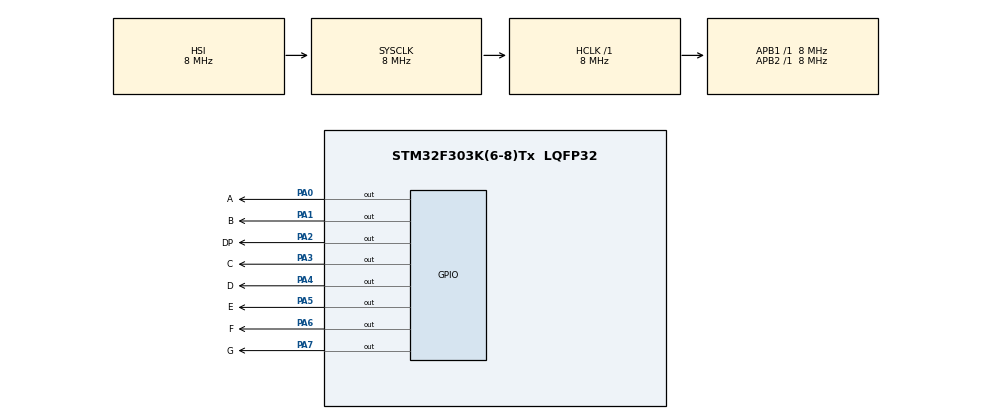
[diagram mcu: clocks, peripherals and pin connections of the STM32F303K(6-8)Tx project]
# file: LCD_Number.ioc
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Mcu.Family=STM32F3
Mcu.Name=STM32F303K(6-8)Tx
Mcu.Package=LQFP32
NVIC.PriorityGroup=NVIC_PRIORITYGROUP_4
PA0.GPIO_Label=A
PA0.Signal=GPIO_Output
PA1.GPIO_Label=B
PA1.Signal=GPIO_Output
PA2.GPIO_Label=DP
PA2.Signal=GPIO_Output
PA3.GPIO_Label=C
PA3.Signal=GPIO_Output
PA4.GPIO_Label=D
PA4.Signal=GPIO_Output
PA5.GPIO_Label=E
PA5.Signal=GPIO_Output
PA6.GPIO_Label=F
PA6.Signal=GPIO_Output
PA7.GPIO_Label=G
PA7.Signal=GPIO_Output
PF0\ /\ OSC_IN.Mode=HSE-External-Oscillator
PF0\ /\ OSC_IN.Signal=RCC_OSC_IN
PF1\ /\ OSC_OUT.Mode=HSE-External-Oscillator
PF1\ /\ OSC_OUT.Signal=RCC_OSC_OUT
ProjectManager.HeapSize=0x200
ProjectManager.StackSize=0x400
ProjectManager.TargetToolchain=STM32CubeIDE
RCC.AHBFreq_Value=8000000
RCC.APB1Freq_Value=8000000
RCC.APB2Freq_Value=8000000
RCC.CortexFreq_Value=8000000
RCC.HSE_VALUE=8000000
RCC.HSI_VALUE=8000000
RCC.SYSCLKFreq_VALUE=8000000
board=custom

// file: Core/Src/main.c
/* USER CODE BEGIN Header */
/**
  ******************************************************************************
  * @file           : main.c
  * @brief          : Main program body
  ******************************************************************************
  * @attention
  *
  * <h2><center>&copy; Copyright (c) 2021 STMicroelectronics.
  * All rights reserved.</center></h2>
  *
  * This software component is licensed by ST under BSD 3-Clause license,
  * the "License"; You may not use this file except in compliance with the
  * License. You may obtain a copy of the License at:
  *                        opensource.org/licenses/BSD-3-Clause
  *
  ******************************************************************************
  */
/* USER CODE END Header */
#include "main.h"

void SystemClock_Config(void);
static void MX_GPIO_Init(void);

/* USER CODE BEGIN 0 */

void putOctChar(uint8_t hexPut){
	toggChar(hexPut);
	  HAL_Delay(1000);
	  toggChar(hexPut);
}
void toggChar(uint8_t hexPut){
	if(hexPut ==  '0') {
				 HAL_GPIO_TogglePin(A_GPIO_Port, A_Pin);
				 HAL_GPIO_TogglePin(B_GPIO_Port, B_Pin);
				 HAL_GPIO_TogglePin(C_GPIO_Port, C_Pin);
				 HAL_GPIO_TogglePin(F_GPIO_Port, F_Pin);
				 HAL_GPIO_TogglePin(E_GPIO_Port, E_Pin);
				 HAL_GPIO_TogglePin(D_GPIO_Port, D_Pin);
				}
	else if(hexPut ==  '1')  {
		 HAL_GPIO_TogglePin(B_GPIO_Port, B_Pin);
		 HAL_GPIO_TogglePin(C_GPIO_Port, C_Pin);
		}
	else if(hexPut ==  '2') {
		 HAL_GPIO_TogglePin(A_GPIO_Port, A_Pin);
		 HAL_GPIO_TogglePin(B_GPIO_Port, B_Pin);
		 HAL_GPIO_TogglePin(G_GPIO_Port, G_Pin);
		 HAL_GPIO_TogglePin(E_GPIO_Port, E_Pin);
		 HAL_GPIO_TogglePin(D_GPIO_Port, D_Pin);
		}
	else if(hexPut ==  '3') {
			 HAL_GPIO_TogglePin(A_GPIO_Port, A_Pin);
			 HAL_GPIO_TogglePin(B_GPIO_Port, B_Pin);
			 HAL_GPIO_TogglePin(G_GPIO_Port, G_Pin);
			 HAL_GPIO_TogglePin(C_GPIO_Port, C_Pin);
			 HAL_GPIO_TogglePin(D_GPIO_Port, D_Pin);
			}
	else if(hexPut ==  '4') {
			 HAL_GPIO_TogglePin(F_GPIO_Port, F_Pin);
			 HAL_GPIO_TogglePin(B_GPIO_Port, B_Pin);
			 HAL_GPIO_TogglePin(G_GPIO_Port, G_Pin);
			 HAL_GPIO_TogglePin(C_GPIO_Port, C_Pin);
			}
	else if(hexPut ==  '5') {
			 HAL_GPIO_TogglePin(A_GPIO_Port, A_Pin);
			 HAL_GPIO_TogglePin(F_GPIO_Port, F_Pin);
			 HAL_GPIO_TogglePin(G_GPIO_Port, G_Pin);
			 HAL_GPIO_TogglePin(C_GPIO_Port, C_Pin);
			 HAL_GPIO_TogglePin(D_GPIO_Port, D_Pin);
			}
	else if(hexPut ==  '6') {
				 HAL_GPIO_TogglePin(A_GPIO_Port, A_Pin);
				 HAL_GPIO_TogglePin(F_GPIO_Port, F_Pin);
				 HAL_GPIO_TogglePin(G_GPIO_Port, G_Pin);
				 HAL_GPIO_TogglePin(C_GPIO_Port, C_Pin);
				 HAL_GPIO_TogglePin(E_GPIO_Port, E_Pin);
				 HAL_GPIO_TogglePin(D_GPIO_Port, D_Pin);
				}
	else if(hexPut ==  '7') {
				 HAL_GPIO_TogglePin(A_GPIO_Port, A_Pin);
				 HAL_GPIO_TogglePin(B_GPIO_Port, B_Pin);
				 HAL_GPIO_TogglePin(C_GPIO_Port, C_Pin);
				}
	else if(hexPut ==  '8') {
				 HAL_GPIO_TogglePin(A_GPIO_Port, A_Pin);
				 HAL_GPIO_TogglePin(B_GPIO_Port, B_Pin);
				 HAL_GPIO_TogglePin(G_GPIO_Port, G_Pin);
				 HAL_GPIO_TogglePin(C_GPIO_Port, C_Pin);
				 HAL_GPIO_TogglePin(F_GPIO_Port, F_Pin);
				 HAL_GPIO_TogglePin(E_GPIO_Port, E_Pin);
				 HAL_GPIO_TogglePin(D_GPIO_Port, D_Pin);
				}
	else if(hexPut ==  '9') {
				 HAL_GPIO_TogglePin(A_GPIO_Port, A_Pin);
				 HAL_GPIO_TogglePin(B_GPIO_Port, B_Pin);
				 HAL_GPIO_TogglePin(G_GPIO_Port, G_Pin);
				 HAL_GPIO_TogglePin(C_GPIO_Port, C_Pin);
				 HAL_GPIO_TogglePin(F_GPIO_Port, F_Pin);
				 HAL_GPIO_TogglePin(D_GPIO_Port, D_Pin);
				}
	else{
		HAL_GPIO_TogglePin(DP_GPIO_Port, DP_Pin);
	}
	  //HAL_Delay(1000);
	  //HAL_GPIO_TogglePin(DP_GPIO_Port, DP_Pin);

}
/* USER CODE END 0 */

int main(void)
{

  /* MCU Configuration--------------------------------------------------------*/

  /* Reset of all peripherals, Initializes the Flash interface and the Systick. */
  HAL_Init();

  /* Configure the system clock */
  SystemClock_Config();

  /* Initialize all configured peripherals */
  MX_GPIO_Init();

  /* Infinite loop */
  while (1)
  {
	  /*
		 HAL_GPIO_TogglePin(A_GPIO_Port, A_Pin);
		  HAL_Delay(1000);

		 HAL_GPIO_TogglePin(B_GPIO_Port, B_Pin);
		  HAL_Delay(1000);

		 HAL_GPIO_TogglePin(C_GPIO_Port, C_Pin);
		  HAL_Delay(1000);

		 HAL_GPIO_TogglePin(D_GPIO_Port, D_Pin);
		  HAL_Delay(1000);

		 HAL_GPIO_TogglePin(E_GPIO_Port, E_Pin);
		  HAL_Delay(1000);

		 HAL_GPIO_TogglePin(F_GPIO_Port, F_Pin);
		  HAL_Delay(1000);
		 HAL_GPIO_TogglePin(G_GPIO_Port, G_Pin);
		 HAL_Delay(1000);
	     HAL_GPIO_TogglePin(DP_GPIO_Port, DP_Pin);
	     HAL_Delay(1000);

	   */
	  putOctChar('1');
	  putOctChar('2');
	  putOctChar('3');
	  putOctChar('4');
	  putOctChar('5');
	  putOctChar('6');
	  putOctChar('7');
	  putOctChar('8');
	  putOctChar('9');
	  putOctChar('0');
	  putOctChar('DP');
  }
}

void SystemClock_Config(void)
{
  RCC_OscInitTypeDef RCC_OscInitStruct = {0};
  RCC_ClkInitTypeDef RCC_ClkInitStruct = {0};

  /** Initializes the RCC Oscillators according to the specified parameters
  * in the RCC_OscInitTypeDef structure.
  */
  RCC_OscInitStruct.OscillatorType = RCC_OSCILLATORTYPE_HSI;
  RCC_OscInitStruct.HSIState = RCC_HSI_ON;
  RCC_OscInitStruct.HSICalibrationValue = RCC_HSICALIBRATION_DEFAULT;
  RCC_OscInitStruct.PLL.PLLState = RCC_PLL_NONE;
  if (HAL_RCC_OscConfig(&RCC_OscInitStruct) != HAL_OK)
  {
    Error_Handler();
  }
  /** Initializes the CPU, AHB and APB buses clocks
  */
  RCC_ClkInitStruct.ClockType = RCC_CLOCKTYPE_HCLK|RCC_CLOCKTYPE_SYSCLK
                              |RCC_CLOCKTYPE_PCLK1|RCC_CLOCKTYPE_PCLK2;
  RCC_ClkInitStruct.SYSCLKSource = RCC_SYSCLKSOURCE_HSI;
  RCC_ClkInitStruct.AHBCLKDivider = RCC_SYSCLK_DIV1;
  RCC_ClkInitStruct.APB1CLKDivider = RCC_HCLK_DIV1;
  RCC_ClkInitStruct.APB2CLKDivider = RCC_HCLK_DIV1;

  if (HAL_RCC_ClockConfig(&RCC_ClkInitStruct, FLASH_LATENCY_0) != HAL_OK)
  {
    Error_Handler();
  }
}

static void MX_GPIO_Init(void)
{
  GPIO_InitTypeDef GPIO_InitStruct = {0};

  /* GPIO Ports Clock Enable */
  __HAL_RCC_GPIOF_CLK_ENABLE();
  __HAL_RCC_GPIOA_CLK_ENABLE();

  /*Configure GPIO pin Output Level */
  HAL_GPIO_WritePin(GPIOA, A_Pin|B_Pin|DP_Pin|C_Pin
                          |D_Pin|E_Pin|F_Pin|G_Pin, GPIO_PIN_RESET);

  /*Configure GPIO pins : A_Pin B_Pin DP_Pin C_Pin
                           D_Pin E_Pin F_Pin G_Pin */
  GPIO_InitStruct.Pin = A_Pin|B_Pin|DP_Pin|C_Pin
                          |D_Pin|E_Pin|F_Pin|G_Pin;
  GPIO_InitStruct.Mode = GPIO_MODE_OUTPUT_PP;
  GPIO_InitStruct.Pull = GPIO_NOPULL;
  GPIO_InitStruct.Speed = GPIO_SPEED_FREQ_LOW;
  HAL_GPIO_Init(GPIOA, &GPIO_InitStruct);

}

void Error_Handler(void)
{
  __disable_irq();
  while (1)
  {
  }
}

/************************ (C) COPYRIGHT STMicroelectronics *****END OF FILE****/
